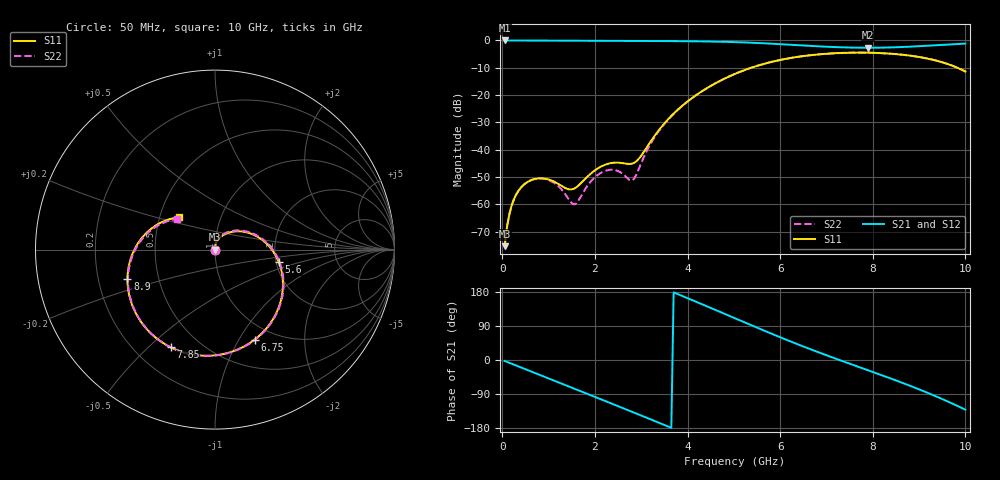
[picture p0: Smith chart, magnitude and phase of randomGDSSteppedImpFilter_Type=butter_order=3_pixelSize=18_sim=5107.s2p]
! freq	dB(S11)	phase(S11)	dB(S12)	phase(S12)
!  dB(S21)	phase(S21)	dB(S22)	phase(S22)
!S-par simulation data
#  GHz  S  DB  R 50
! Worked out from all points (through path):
!   200 points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, 50 MHz to 10 GHz, reference 50 ohm
!   highest |S21| = 0.00 dB at 50 MHz (marker M1); lowest = -2.7 dB at 7.9 GHz (marker M2)
!   group delay of S21, straight-line fit = 136 ps
!   lowest |S11| = -75.3 dB at 50 MHz (marker M3), VSWR 1.00, Z = 50 - j0.0115 ohm
!   |S11| at or under -10 dB: start of sweep to 5.373 GHz; 9.828 GHz to end of sweep
!   |S22| runs from -75.2 to -4.4 dB; largest |S21 - S12| = 0
!   S11 on the Smith chart (normalised r, x): 50 MHz: 1.00, -0.00; 5.6 GHz: 2.07, -0.34; 6.75 GHz: 0.82, -1.17; 7.85 GHz: 0.35, -0.59; 8.9 GHz: 0.33, -0.14; 10 GHz: 0.63, +0.24
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0.05  -75.25 -41.6  -0.00 -2.5  -0.00 -2.5  -75.20 -41.5
0.1  -68.41 -54.0  -0.01 -4.9  -0.01 -4.9  -68.34 -53.6
0.2  -60.52 -72.2  -0.02 -9.8  -0.02 -9.8  -60.44 -71.3
0.5  -52.30 -108.8  -0.03 -24.3  -0.03 -24.3  -52.24 -106.4
1.05  -51.16 -159.3  -0.06 -51.0  -0.06 -51.0  -51.45 -150.0
1.55  -54.21 109.8  -0.09 -75.3  -0.09 -75.3  -59.99 116.3
1.75  -51.31 69.6  -0.10 -85.1  -0.10 -85.1  -55.47 52.9
2.25  -45.29 27.6  -0.13 -109.5  -0.13 -109.5  -47.56 9.9
2.8  -45.07 43.8  -0.16 -136.6  -0.16 -136.6  -51.24 45.7
3.4  -32.40 86.1  -0.21 -166.5  -0.21 -166.5  -32.69 95.5
4.15  -20.43 59.5  -0.31 155.5  -0.31 155.5  -20.45 62.8
5.05  -12.05 16.2  -0.62 108.8  -0.62 108.8  -12.05 17.8
5.6  -8.80 -11.3  -1.00 80.3  -1.00 80.3  -8.80 -10.1
6.15  -6.64 -38.3  -1.51 52.6  -1.51 52.6  -6.64 -37.3
6.7  -5.31 -64.0  -2.04 26.3  -2.04 26.3  -5.31 -63.1
6.75  -5.22 -66.2  -2.09 24.0  -2.09 24.0  -5.22 -65.4
7.85  -4.47 -114.4  -2.67 -25.0  -2.67 -25.0  -4.46 -113.6
7.9  -4.48 -116.5  -2.67 -27.2  -2.67 -27.2  -4.48 -115.7
8.35  -4.80 -136.2  -2.57 -47.1  -2.57 -47.1  -4.80 -135.3
8.9  -5.78 -161.6  -2.20 -72.6  -2.20 -72.6  -5.78 -160.5
9.5  -7.98 167.6  -1.61 -103.0  -1.61 -103.0  -7.97 169.2
10  -11.38 138.2  -1.16 -131.1  -1.16 -131.1  -11.36 140.8
